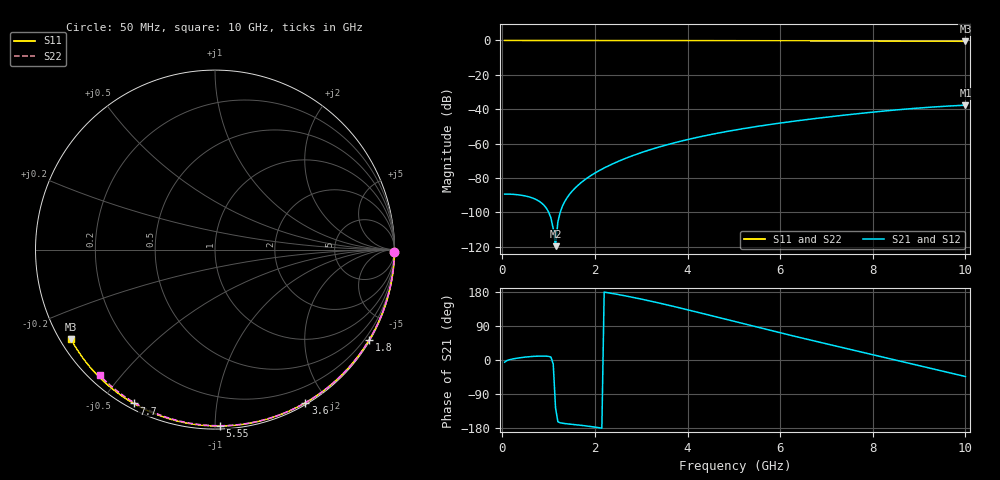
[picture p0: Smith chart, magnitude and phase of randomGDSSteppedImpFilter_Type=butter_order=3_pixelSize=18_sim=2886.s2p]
! freq	dB(S11)	phase(S11)	dB(S12)	phase(S12)
!  dB(S21)	phase(S21)	dB(S22)	phase(S22)
!S-par simulation data
#  GHz  S  DB  R 50
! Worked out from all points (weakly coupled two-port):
!   200 points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, 50 MHz to 10 GHz, reference 50 ohm
!   highest |S21| = -37.68 dB at 10 GHz (marker M1); lowest = -119.8 dB at 1.15 GHz (marker M2)
!   lowest |S11| = -0.5 dB at 10 GHz (marker M3), VSWR 35.28, Z = 1.53 - j14.3 ohm
!   |S11| at or under -10 dB: nowhere
!   |S22| runs from -0.4 to 0.0 dB; largest |S21 - S12| = 0
!   S11 on the Smith chart (normalised r, x): 50 MHz: open; 1.8 GHz: 0.03, -3.67; 3.6 GHz: 0.02, -1.75; 5.55 GHz: 0.02, -1.03; 7.7 GHz: 0.02, -0.60; 10 GHz: 0.03, -0.29
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0.05  -0.00 -0.9  -89.45 -5.8  -89.45 -5.8  -0.00 -0.8
0.6  -0.01 -10.3  -91.24 9.0  -91.24 9.0  -0.01 -9.2
1.15  -0.02 -19.6  -119.77 -126.8  -119.77 -126.8  -0.02 -17.5
1.75  -0.04 -29.7  -81.74 -173.1  -81.74 -173.1  -0.03 -26.4
1.8  -0.04 -30.5  -80.73 -173.8  -80.73 -173.8  -0.03 -27.2
1.85  -0.04 -31.3  -79.79 -174.6  -79.79 -174.6  -0.04 -27.9
2  -0.04 -33.8  -77.21 -177.1  -77.21 -177.1  -0.04 -30.1
2.15  -0.05 -36.3  -74.94 -179.9  -74.94 -179.9  -0.04 -32.3
2.35  -0.05 -39.5  -72.26 176.1  -72.26 176.1  -0.05 -35.3
2.55  -0.06 -42.8  -69.88 171.7  -69.88 171.7  -0.05 -38.2
2.95  -0.06 -49.2  -65.77 162.0  -65.77 162.0  -0.06 -43.9
3.4  -0.07 -56.3  -61.92 150.0  -61.92 150.0  -0.07 -50.3
3.6  -0.08 -59.4  -60.42 144.3  -60.42 144.3  -0.07 -53.1
4.3  -0.10 -70.1  -55.89 123.5  -55.89 123.5  -0.09 -62.8
5.05  -0.12 -81.2  -52.03 100.5  -52.03 100.5  -0.11 -72.8
5.55  -0.14 -88.4  -49.85 85.3  -49.85 85.3  -0.13 -79.3
6.1  -0.17 -96.2  -47.72 68.9  -47.72 68.9  -0.15 -86.4
6.7  -0.20 -104.4  -45.64 51.3  -45.64 51.3  -0.18 -93.8
7.7  -0.27 -117.9  -42.56 22.7  -42.56 22.7  -0.24 -105.9
8.35  -0.32 -126.4  -40.82 4.1  -40.82 4.1  -0.29 -113.6
9.2  -0.40 -137.6  -38.94 -20.5  -38.94 -20.5  -0.36 -123.4
10  -0.49 -148.0  -37.68 -43.6  -37.68 -43.6  -0.45 -132.5
